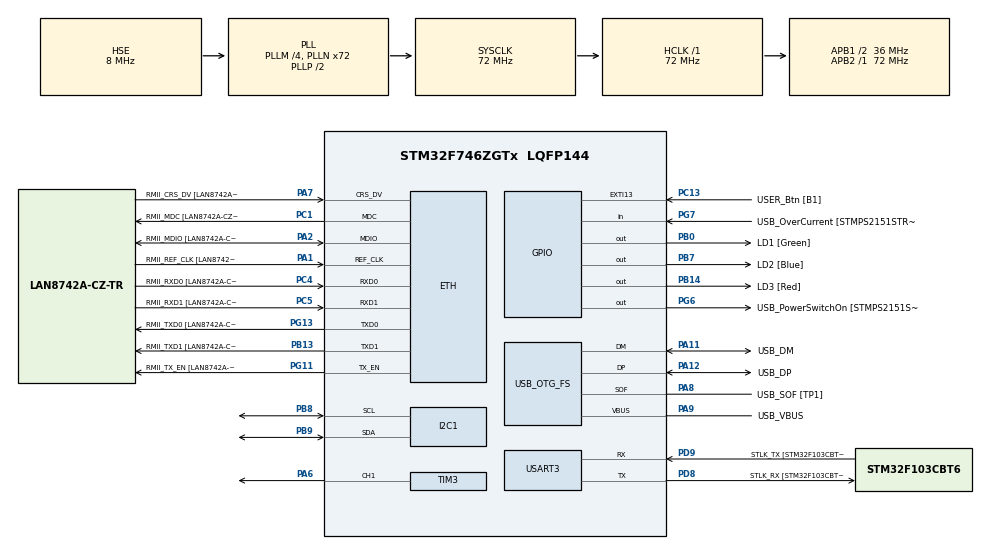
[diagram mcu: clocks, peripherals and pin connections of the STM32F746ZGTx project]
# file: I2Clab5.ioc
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ETH.MediaInterface=HAL_ETH_RMII_MODE
ETH.PHY_Name=LAN8742A_PHY_ADDRESS
ETH.PHY_Value=0
ETH.PhyAddress=0
I2C1.Timing=0x00808CD2
Mcu.Family=STM32F7
Mcu.Name=STM32F746ZGTx
Mcu.Package=LQFP144
NVIC.PriorityGroup=NVIC_PRIORITYGROUP_4
NVIC.TIM2_IRQn=true\:0\:0\:false\:false\:true\:true\:true\:true
NVIC.TIM3_IRQn=true\:0\:0\:false\:false\:true\:true\:true\:true
PA1.GPIO_Label=RMII_REF_CLK [LAN8742A-CZ-TR_REFCLK0]
PA1.Mode=RMII
PA1.Signal=ETH_REF_CLK
PA10.GPIO_Label=USB_ID
PA10.Signal=USB_OTG_FS_ID
PA11.GPIO_Label=USB_DM
PA11.Mode=Device_Only
PA11.Signal=USB_OTG_FS_DM
PA12.GPIO_Label=USB_DP
PA12.Mode=Device_Only
PA12.Signal=USB_OTG_FS_DP
PA13.GPIO_Label=TMS
PA13.Mode=Serial_Wire
PA13.Signal=SYS_JTMS-SWDIO
PA14.GPIO_Label=TCK
PA14.Mode=Serial_Wire
PA14.Signal=SYS_JTCK-SWCLK
PA2.GPIO_Label=RMII_MDIO [LAN8742A-CZ-TR_MDIO]
PA2.Mode=RMII
PA2.Signal=ETH_MDIO
PA6.Signal=S_TIM3_CH1
PA7.GPIO_Label=RMII_CRS_DV [LAN8742A-CZ-TR_CRS_DV]
PA7.Mode=RMII
PA7.Signal=ETH_CRS_DV
PA8.GPIO_Label=USB_SOF [TP1]
PA8.Mode=Activate_SOF_FS
PA8.Signal=USB_OTG_FS_SOF
PA9.GPIO_Label=USB_VBUS
PA9.Mode=Activate_VBUS
PA9.Signal=USB_OTG_FS_VBUS
PB0.GPIO_Label=LD1 [Green]
PB0.Signal=GPIO_Output
PB13.GPIO_Label=RMII_TXD1 [LAN8742A-CZ-TR_TXD1]
PB13.Mode=RMII
PB13.Signal=ETH_TXD1
PB14.GPIO_Label=LD3 [Red]
PB14.Signal=GPIO_Output
PB3.GPIO_Label=SW0
PB3.Signal=SYS_JTDO-SWO
PB7.GPIO_Label=LD2 [Blue]
PB7.Signal=GPIO_Output
PB8.Mode=I2C
PB8.Signal=I2C1_SCL
PB9.Mode=I2C
PB9.Signal=I2C1_SDA
PC1.GPIO_Label=RMII_MDC [LAN8742A-CZ-TR_MDC]
PC1.Mode=RMII
PC1.Signal=ETH_MDC
PC13.GPIO_Label=USER_Btn [B1]
PC13.Signal=GPXTI13
PC14/OSC32_IN.Mode=LSE-External-Oscillator
PC14/OSC32_IN.Signal=RCC_OSC32_IN
PC15/OSC32_OUT.Mode=LSE-External-Oscillator
PC15/OSC32_OUT.Signal=RCC_OSC32_OUT
PC4.GPIO_Label=RMII_RXD0 [LAN8742A-CZ-TR_RXD0]
PC4.Mode=RMII
PC4.Signal=ETH_RXD0
PC5.GPIO_Label=RMII_RXD1 [LAN8742A-CZ-TR_RXD1]
PC5.Mode=RMII
PC5.Signal=ETH_RXD1
PD8.GPIO_Label=STLK_RX [STM32F103CBT6_PA3]
PD8.GPIO_PuPd=GPIO_PULLUP
PD8.Mode=Asynchronous
PD8.Signal=USART3_TX
PD9.GPIO_Label=STLK_TX [STM32F103CBT6_PA2]
PD9.GPIO_PuPd=GPIO_PULLUP
PD9.Mode=Asynchronous
PD9.Signal=USART3_RX
PG11.GPIO_Label=RMII_TX_EN [LAN8742A-CZ-TR_TXEN]
PG11.Mode=RMII
PG11.Signal=ETH_TX_EN
PG13.GPIO_Label=RMII_TXD0 [LAN8742A-CZ-TR_TXD0]
PG13.Mode=RMII
PG13.Signal=ETH_TXD0
PG6.GPIO_Label=USB_PowerSwitchOn [STMPS2151STR_EN]
PG6.Signal=GPIO_Output
PG7.GPIO_Label=USB_OverCurrent [STMPS2151STR_FAULT]
PG7.Signal=GPIO_Input
PH0/OSC_IN.GPIO_Label=MCO [STM32F103CBT6_PA8]
PH0/OSC_IN.Mode=HSE-External-Clock-Source
PH0/OSC_IN.Signal=RCC_OSC_IN
PH1/OSC_OUT.Mode=HSE-External-Clock-Source
PH1/OSC_OUT.Signal=RCC_OSC_OUT
ProjectManager.HeapSize=0x200
ProjectManager.StackSize=0x400
ProjectManager.TargetToolchain=STM32CubeIDE
RCC.48MHZClocksFreq_Value=24000000
RCC.AHBFreq_Value=72000000
RCC.APB1CLKDivider=RCC_HCLK_DIV2
RCC.APB1Freq_Value=36000000
RCC.APB1TimFreq_Value=72000000
RCC.APB2Freq_Value=72000000
RCC.APB2TimFreq_Value=72000000
RCC.CortexFreq_Value=72000000
RCC.HCLKFreq_Value=72000000
RCC.HSE_VALUE=8000000
RCC.HSI_VALUE=16000000
RCC.PLLM=4
RCC.PLLMUL=RCC_PLL_MUL9
RCC.PLLN=72
RCC.PLLQ=3
RCC.PRESCALERUSB=RCC_USBCLKSOURCE_PLL_DIV1_5
RCC.SYSCLKFreq_VALUE=72000000
RCC.SYSCLKSource=RCC_SYSCLKSOURCE_PLLCLK
RCC.SYSCLKSourceVirtual=RCC_SYSCLKSOURCE_PLLCLK
RCC.USBFreq_Value=48000000
RCC.VCOOutputFreq_Value=144000000
SH.S_TIM3_CH1.0=TIM3_CH1,PWM Generation1 CH1
TIM2.AutoReloadPreload=TIM_AUTORELOAD_PRELOAD_ENABLE
TIM2.Period=9999
TIM2.Prescaler=9599
TIM3.Channel-PWM\ Generation1\ CH1=TIM_CHANNEL_1
USART3.VirtualMode-Asynchronous=VM_ASYNC
USB_OTG_FS.VirtualMode=Device_Only
VP_TIM2_VS_ClockSourceINT.Mode=Internal
VP_TIM3_VS_ClockSourceINT.Mode=Internal
board=NUCLEO-F746ZG

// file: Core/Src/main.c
/* USER CODE BEGIN Header */
/**
  ******************************************************************************
  * @file           : main.c
  * @brief          : Main program body
  ******************************************************************************
  * @attention
  *
  * Copyright (c) 2025 STMicroelectronics.
  * All rights reserved.
  *
  * This software is licensed under terms that can be found in the LICENSE file
  * in the root directory of this software component.
  * If no LICENSE file comes with this software, it is provided AS-IS.
  *
  ******************************************************************************
  */
/* USER CODE END Header */
#include "main.h"
#include "eth.h"
#include "i2c.h"
#include "tim.h"
#include "usart.h"
#include "usb_otg.h"
#include "gpio.h"

/* USER CODE BEGIN Includes */
#include <stdio.h>
#include <stdlib.h>
/* USER CODE END Includes */

/* USER CODE BEGIN PD */
#define BH1750_ADDR (0x23 << 1)
#define BH1750_POWER_ON 0x01
#define BH1750_CONT_HIGH_RES_MODE 0x10
/* USER CODE END PD */

void SystemClock_Config(void);
/* USER CODE BEGIN PFP */

char buffer[50];
float lux =0;

float red = 0.0f;
float green = 0.0f;
float blue = 0.0f;
float duty = 0.0f;
uint8_t rxBuffer[12];
int pos =0;
/* USER CODE END PFP */

/* USER CODE BEGIN 0 */
void UART_TransmitMessage(char *msg) {
	HAL_UART_Transmit(&huart3, (uint8_t*) msg, strlen(msg), HAL_MAX_DELAY);
}

void BH1750_Init()
{
    uint8_t cmd;
    cmd = BH1750_POWER_ON;
    HAL_I2C_Master_Transmit(&hi2c1, BH1750_ADDR, &cmd, 1, HAL_MAX_DELAY);
    cmd = BH1750_CONT_HIGH_RES_MODE;
    HAL_I2C_Master_Transmit(&hi2c1, BH1750_ADDR, &cmd, 1, HAL_MAX_DELAY);
}

void HAL_TIM_PeriodElapsedCallback(TIM_HandleTypeDef *htim)
{
    if (htim->Instance == TIM2)
    {
        zad2();
        //  zad3();
    }
}

float BH1750_ReadLux()
{
    uint8_t data[2];

    HAL_I2C_Master_Receive(&hi2c1, BH1750_ADDR, data, 2, HAL_MAX_DELAY);

    uint16_t raw = (data[0] << 8) | data[1];

    return (float)raw / 1.2f;
}

void zad2()
{
   lux = BH1750_ReadLux();
    float newlux = lux/1.2;
    if (newlux >= 0)
    {
        sprintf(buffer, "JASNOSC = %d lux\r\n", (int)newlux);
        UART_TransmitMessage(buffer);
    }
}

// 5 Hz
// PSC = 9599, ARR = 1999
void zad3() {
	float lux = BH1750_ReadLux();
	if (lux >= 0) {
		int mililux = (int) (lux * 1000.0f);
		sprintf(buffer, "JASNOSC = %d mLux\r\n", mililux);
		UART_TransmitMessage(buffer);
	}
}

void SetPWM(TIM_HandleTypeDef *htim, uint32_t channel, float duty)
{
	if (duty < 0.0f)
		duty = 0.0f;
	if (duty > 100.0f)
		duty = 100.0f;

	uint32_t ARR = __HAL_TIM_GET_AUTORELOAD(htim);
	uint32_t compare = (uint32_t)((duty / 100.0f) * (ARR + 1));
	__HAL_TIM_SET_COMPARE(htim, channel, compare);
}

void zad5()
{
	if (__HAL_TIM_GET_FLAG(&htim2, TIM_FLAG_UPDATE))
	{
		__HAL_TIM_CLEAR_FLAG(&htim2, TIM_FLAG_UPDATE);

		duty += 10.0f;
		if (duty > 100.0f)
			duty = 0.0f;
		SetPWM(&htim3, TIM_CHANNEL_1, duty);
	}
}
/* USER CODE END 0 */

int main(void)
{

  /* MCU Configuration--------------------------------------------------------*/

  /* Reset of all peripherals, Initializes the Flash interface and the Systick. */
  HAL_Init();

  /* Configure the system clock */
  SystemClock_Config();

  /* Initialize all configured peripherals */
  MX_GPIO_Init();
  MX_ETH_Init();
  MX_I2C1_Init();
  MX_USART3_UART_Init();
  MX_USB_OTG_FS_PCD_Init();
  MX_TIM2_Init();
  MX_TIM3_Init();
  /* USER CODE BEGIN 2 */
  BH1750_Init();
  HAL_TIM_Base_Start_IT(&htim2);
  HAL_TIM_PWM_Start(&htim3, TIM_CHANNEL_1);

  /* USER CODE END 2 */

  /* Infinite loop */
  while (1)
  {

  }
}

void SystemClock_Config(void)
{
  RCC_OscInitTypeDef RCC_OscInitStruct = {0};
  RCC_ClkInitTypeDef RCC_ClkInitStruct = {0};

  /** Configure LSE Drive Capability
  */
  HAL_PWR_EnableBkUpAccess();

  /** Configure the main internal regulator output voltage
  */
  __HAL_RCC_PWR_CLK_ENABLE();
  __HAL_PWR_VOLTAGESCALING_CONFIG(PWR_REGULATOR_VOLTAGE_SCALE3);

  /** Initializes the RCC Oscillators according to the specified parameters
  * in the RCC_OscInitTypeDef structure.
  */
  RCC_OscInitStruct.OscillatorType = RCC_OSCILLATORTYPE_HSE;
  RCC_OscInitStruct.HSEState = RCC_HSE_BYPASS;
  RCC_OscInitStruct.PLL.PLLState = RCC_PLL_ON;
  RCC_OscInitStruct.PLL.PLLSource = RCC_PLLSOURCE_HSE;
  RCC_OscInitStruct.PLL.PLLM = 4;
  RCC_OscInitStruct.PLL.PLLN = 72;
  RCC_OscInitStruct.PLL.PLLP = RCC_PLLP_DIV2;
  RCC_OscInitStruct.PLL.PLLQ = 3;
  if (HAL_RCC_OscConfig(&RCC_OscInitStruct) != HAL_OK)
  {
    Error_Handler();
  }

  /** Initializes the CPU, AHB and APB buses clocks
  */
  RCC_ClkInitStruct.ClockType = RCC_CLOCKTYPE_HCLK|RCC_CLOCKTYPE_SYSCLK
                              |RCC_CLOCKTYPE_PCLK1|RCC_CLOCKTYPE_PCLK2;
  RCC_ClkInitStruct.SYSCLKSource = RCC_SYSCLKSOURCE_PLLCLK;
  RCC_ClkInitStruct.AHBCLKDivider = RCC_SYSCLK_DIV1;
  RCC_ClkInitStruct.APB1CLKDivider = RCC_HCLK_DIV2;
  RCC_ClkInitStruct.APB2CLKDivider = RCC_HCLK_DIV1;

  if (HAL_RCC_ClockConfig(&RCC_ClkInitStruct, FLASH_LATENCY_2) != HAL_OK)
  {
    Error_Handler();
  }
}

void Error_Handler(void)
{
  __disable_irq();
  while (1)
  {
  }
}
